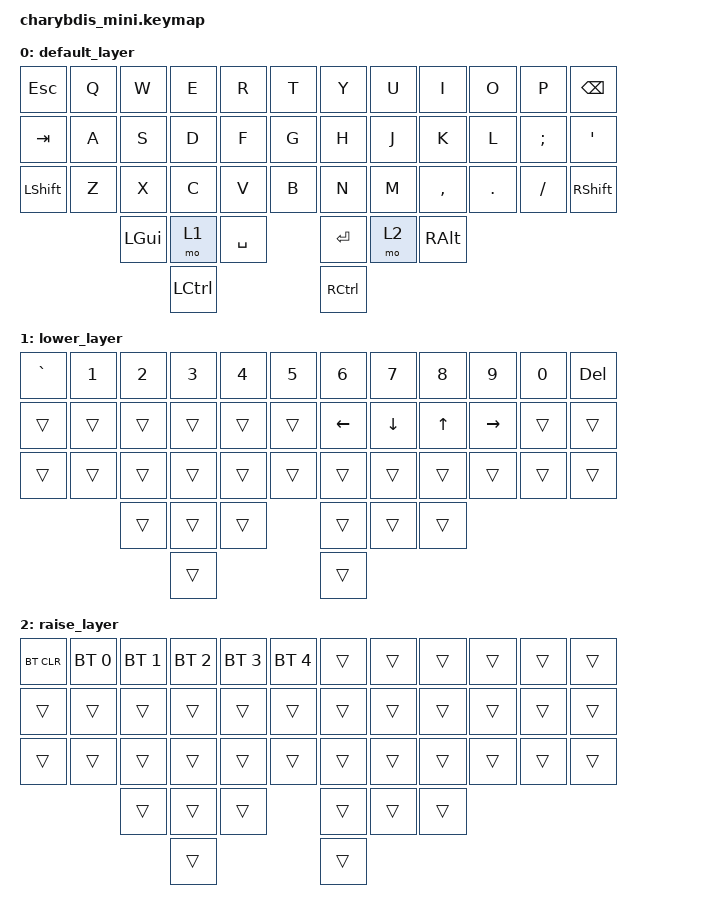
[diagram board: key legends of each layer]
#include <behaviors.dtsi>
#include <dt-bindings/zmk/keys.h>
#include <dt-bindings/zmk/bt.h>
#include <dt-bindings/zmk/mouse.h>

/ {
    keymap {
        compatible = "zmk,keymap";

        default_layer {
            bindings = <
                &kp ESC   &kp Q  &kp W  &kp E  &kp R  &kp T    &kp Y  &kp U  &kp I      &kp O    &kp P     &kp BSPC
                &kp TAB   &kp A  &kp S  &kp D  &kp F  &kp G    &kp H  &kp J  &kp K      &kp L    &kp SEMI  &kp SQT
                &kp LSHFT &kp Z  &kp X  &kp C  &kp V  &kp B    &kp N  &kp M  &kp COMMA  &kp DOT  &kp FSLH  &kp RSHFT
                                 &kp LGUI &mo 1 &kp SPACE    &kp ENTER &mo 2 &kp RALT
                                        &kp LCTRL            &kp RCTRL
            >;
        };

        lower_layer {
            bindings = <
                &kp GRAVE &kp N1 &kp N2 &kp N3 &kp N4 &kp N5   &kp N6 &kp N7 &kp N8 &kp N9 &kp N0 &kp DEL
                &trans    &trans &trans &trans &trans &trans   &kp LEFT &kp DOWN &kp UP &kp RIGHT &trans &trans
                &trans    &trans &trans &trans &trans &trans   &trans &trans &trans &trans &trans &trans
                                 &trans &trans &trans        &trans &trans &trans
                                        &trans               &trans
            >;
        };

        raise_layer {
            bindings = <
                &bt BT_CLR &bt BT_SEL 0 &bt BT_SEL 1 &bt BT_SEL 2 &bt BT_SEL 3 &bt BT_SEL 4    &trans &trans &trans &trans &trans &trans
                &trans     &trans       &trans       &trans       &trans       &trans          &trans &trans &trans &trans &trans &trans
                &trans     &trans       &trans       &trans       &trans       &trans          &trans &trans &trans &trans &trans &trans
                                        &trans       &trans       &trans                       &trans &trans &trans
                                                     &trans                                    &trans
            >;
        };
    };
};
